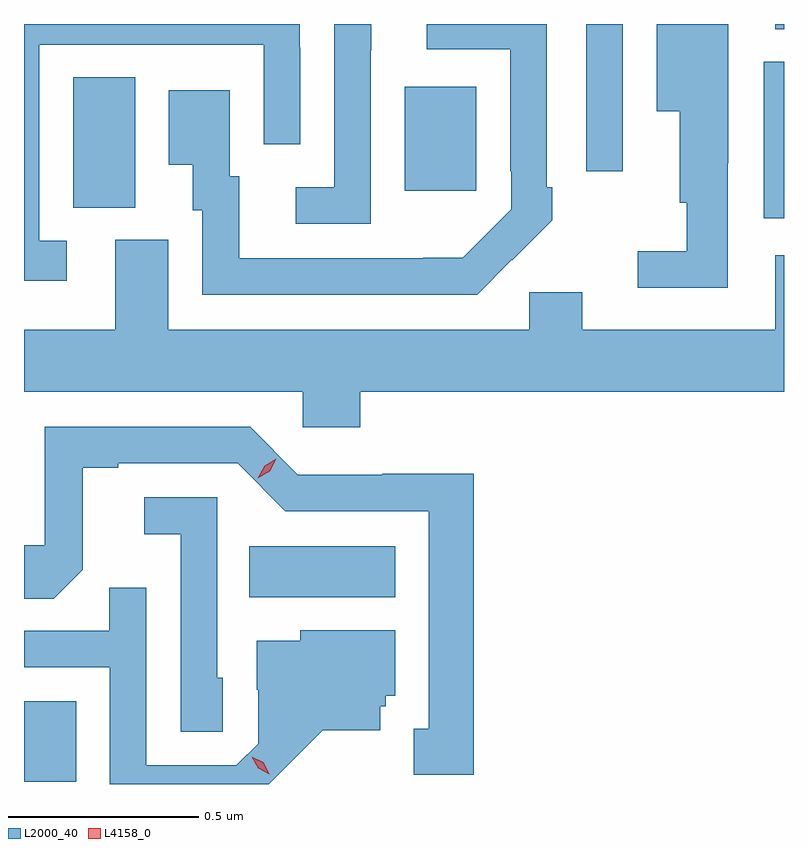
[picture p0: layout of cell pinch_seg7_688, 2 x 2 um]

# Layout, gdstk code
import gdstk
lib = gdstk.Library(unit=1e-6, precision=1e-09)
def R(c, l, rs):  # rectangles x0, y0, x1, y1
    for r in rs: c.add(gdstk.rectangle(r[:2], r[2:], *l))
def P(c, l, *ps):  # polygons
    for p in ps: c.add(gdstk.Polygon(p, *l))
L2000_40 = (2000, 40)
L4158_0 = (4158, 0)

pinch_seg7_688 = lib.new_cell('pinch_seg7_688')
R(pinch_seg7_688, L2000_40, [(133.445,1007.582,133.582,1007.794), (134.038,1008.068,134.422,1008.202), (135.392,1009.065,135.445,1009.477), (133.574,1009.093,133.738,1009.436), (134.447,1009.137,134.635,1009.411), (134.925,1009.188,135.021,1009.576), (135.422,1009.562,135.445,1009.576)])
P(pinch_seg7_688, L2000_40, [(135.297,1009.21),(135.298,1009.21),(135.298,1009.576),(135.11,1009.576),(135.11,1009.346),(135.17,1009.346),(135.17,1009.106),(135.189,1009.106),(135.189,1008.978),(135.06,1008.978),(135.06,1008.882),(135.297,1008.882)],
  [(133.558,1009.005),(133.485,1009.005),(133.485,1009.521),(134.076,1009.521),(134.076,1009.26),(134.172,1009.26),(134.172,1009.514),(134.171,1009.514),(134.171,1009.576),(133.445,1009.576),(133.445,1008.9),(133.558,1008.9)],
  [(134.358,1009.507),(134.359,1009.507),(134.359,1009.576),(134.262,1009.576),(134.262,1009.146),(134.16,1009.146),(134.16,1009.05),(134.358,1009.05)],
  [(134.729,1008.955),(134.73,1008.954),(134.835,1009.059),(134.835,1009.147),(134.82,1009.147),(134.82,1009.576),(134.505,1009.576),(134.505,1009.509),(134.724,1009.509),(134.724,1009.189),(134.727,1009.189),(134.727,1009.089),(134.599,1008.961),(134.495,1008.961),(134.495,1008.96),(134.011,1008.96),(134.011,1009.176),(133.987,1009.176),(133.987,1009.402),(133.826,1009.402),(133.826,1009.205),(133.889,1009.205),(133.889,1009.086),(133.914,1009.086),(133.914,1008.864),(134.638,1008.864)],
  [(134.33,1008.608),(135.445,1008.608),(135.445,1008.967),(135.422,1008.967),(135.422,1008.772),(134.914,1008.772),(134.914,1008.87),(134.775,1008.87),(134.775,1008.772),(133.825,1008.772),(133.825,1009.008),(133.685,1009.008),(133.685,1008.772),(133.445,1008.772),(133.445,1008.608),(134.178,1008.608),(134.178,1008.515),(134.33,1008.515)],
  [(134.629,1008.392),(134.388,1008.392),(134.388,1008.39),(134.166,1008.39),(134.04,1008.516),(133.5,1008.516),(133.5,1008.204),(133.445,1008.204),(133.445,1008.064),(133.523,1008.064),(133.599,1008.14),(133.599,1008.408),(133.693,1008.408),(133.693,1008.42),(134.007,1008.42),(134.133,1008.294),(134.51,1008.294),(134.51,1007.721),(134.471,1007.721),(134.471,1007.601),(134.629,1007.601)],
  [(133.968,1007.856),(133.953,1007.856),(133.953,1008.33),(133.761,1008.33),(133.761,1008.233),(133.857,1008.233),(133.857,1007.713),(133.968,1007.713)],
  [(134.128,1007.615),(134.231,1007.717),(134.383,1007.717),(134.383,1007.781),(134.397,1007.781),(134.397,1007.808),(134.422,1007.808),(134.422,1007.98),(134.172,1007.98),(134.172,1007.953),(134.057,1007.953),(134.057,1007.824),(134.061,1007.824),(134.061,1007.682),(134.004,1007.625),(133.767,1007.625),(133.767,1008.092),(133.669,1008.092),(133.669,1007.979),(133.445,1007.979),(133.445,1007.883),(133.671,1007.883),(133.671,1007.576),(134.089,1007.576)])
P(pinch_seg7_688, L4158_0, [(134.06,1008.38),(134.06,1008.38),(134.078,1008.413),(134.109,1008.432),(134.109,1008.432),(134.109,1008.432),(134.092,1008.399),(134.06,1008.38)],
  [(134.091,1007.602),(134.061,1007.618),(134.044,1007.648),(134.044,1007.648),(134.044,1007.648),(134.074,1007.633),(134.091,1007.603),(134.091,1007.602)])

lib.write_gds('pinch_seg7_688.gds')
